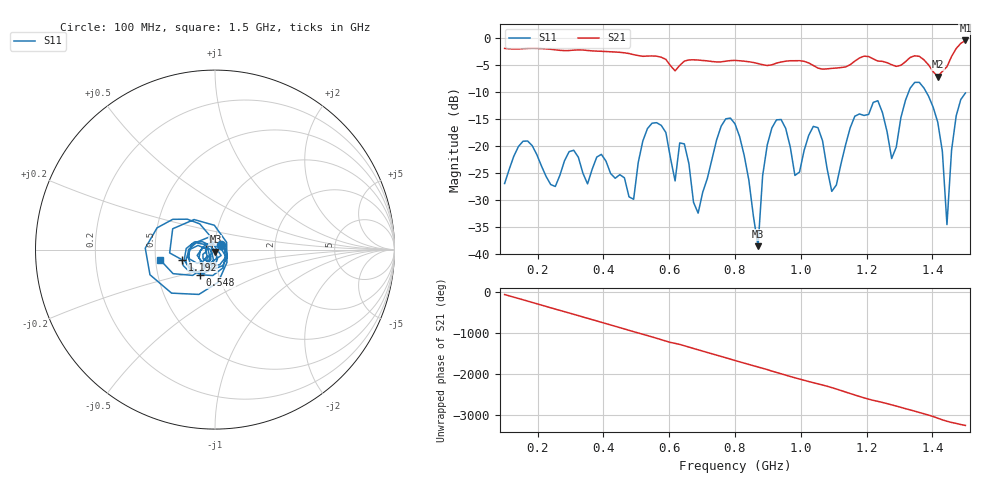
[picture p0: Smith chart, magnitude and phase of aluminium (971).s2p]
! NanoVNA-App
! Date: 2025-09-25 15:02:50
! Start: 100MHz Stop: 1,5GHz Points: 101
! S-Parameter data: F S11 S21 S12 S22
# Hz S RI R 50
!  Frequency  S11_Real  S11_Imag  S21_Real  S21_Imag  S12_Real  S12_Imag  S22_Real  S22_Imag
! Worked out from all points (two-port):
!   101 points, 100 MHz to 1.5 GHz, reference 50 ohm
!   highest |S21| = -0.44 dB at 1.5 GHz (marker M1); lowest = -7.1 dB at 1.416 GHz (marker M2)
!   |S21| within 3 dB of the highest: start of sweep to 568.3 MHz; 1.458 GHz to end of sweep (the widest 2 of 4)
!   lowest |S11| = -38.6 dB at 870 MHz (marker M3), VSWR 1.02, Z = 50.2 - j1.16 ohm
!   |S11| at or under -10 dB: start of sweep to 1.328 GHz; 1.381 GHz to end of sweep
!   S12 and S22 are empty: the file has one direction only
!   S11 on the Smith chart (normalised r, x): 100 MHz: 1.07, +0.06; 548 MHz: 0.82, -0.24; 1.192 GHz: 0.69, -0.08; 1.5 GHz: 0.53, -0.07
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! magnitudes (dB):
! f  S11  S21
! 100 MHz  -27.0  -1.9
! 156 MHz  -19.1  -2.0
! 338 MHz  -25.1  -2.2
! 492 MHz  -29.9  -3.1
! 548 MHz  -15.8  -3.3
! 576 MHz  -16.2  -3.5
! 618 MHz  -26.5  -6.1
! 646 MHz  -19.6  -4.3
! 688 MHz  -32.4  -4.1
! 800 MHz  -15.9  -4.1
! 870 MHz  -38.6  -4.7
! 912 MHz  -16.7  -5.0
! 982 MHz  -25.5  -4.2
! 1.038 GHz  -16.4  -5.1
! 1.094 GHz  -28.4  -5.6
! 1.192 GHz  -14.3  -3.4
! 1.276 GHz  -22.3  -4.9
! 1.346 GHz  -8.2  -3.3
! 1.416 GHz  -15.6  -7.1
! 1.444 GHz  -34.6  -5.3
! 1.472 GHz  -14.4  -1.9
! 1.5 GHz  -10.2  -0.4
